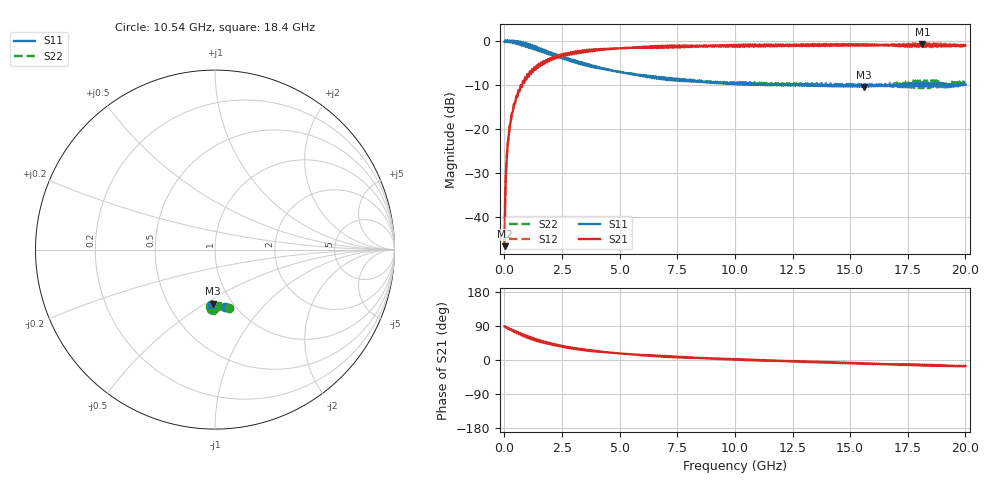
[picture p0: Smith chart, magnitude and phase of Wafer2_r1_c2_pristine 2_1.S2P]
!  2-Port S-parameters saved by WinCal
! VAR MeasName=S-Parameters (CALIBRATED_DATA) read from VNA (P5004A)
! VAR MeasDate=26/04/2024 17:42:32
! VAR NAME=Wafer2_r1_c2_pristine 2
! VAR FILENAME=Wafer2_r1_c2_pristine 2_1.S2P
! VAR DATE=26/04/2024 17:42:32
! VAR PHYS_PORTS=1,2
! VAR ObjTypeName=DATASET
! VAR IndexType=Frequency
# Hz S MA R 50
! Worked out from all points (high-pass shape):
!   1999 points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, 10.01 MHz to 20 GHz, reference 50 ohm
!   highest |S21| = -0.69 dB at 18.14 GHz (marker M1); lowest = -46.6 dB at 10.01 MHz (marker M2)
!   |S21| within 3 dB of the highest: 2.254 GHz to 2.322 GHz (67.55 MHz wide, 2.95 % of centre); 2.339 GHz to end of sweep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
!   lowest |S11| = -10.4 dB at 15.61 GHz (marker M3), VSWR 1.87, Z = 40.9 - j27.1 ohm
!   |S11| at or under -10 dB: 15.48 GHz to 15.56 GHz (81.3 MHz wide, 0.524 % of centre); 15.57 GHz to 15.66 GHz (91.31 MHz wide, 0.585 % of centre); 15.67 GHz to 15.76 GHz (87.08 MHz wide, 0.554 % of centre)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
!   |S22| runs from -10.7 to 0.1 dB; largest |S21 - S12| = 0.038
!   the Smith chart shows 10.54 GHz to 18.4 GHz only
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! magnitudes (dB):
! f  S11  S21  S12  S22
! 10.01 MHz  -0.2  -46.6  -46.5  -0.2
! 50.03 MHz  0.1  -32.4  -32.5  0.1
! 120.1 MHz  0.1  -25.0  -25.0  0.0
! 160.1 MHz  -0.1  -22.7  -22.8  -0.1
! 210.1 MHz  0.0  -20.3  -20.2  0.0
! 280.1 MHz  -0.3  -18.1  -18.1  -0.3
! 380.2 MHz  -0.4  -15.6  -15.5  -0.4
! 500.3 MHz  -0.1  -13.0  -13.0  -0.1
! 660.3 MHz  -0.9  -11.4  -11.4  -0.8
! 850.4 MHz  -1.1  -9.5  -9.5  -1.1
! 1.051 GHz  -1.5  -8.1  -8.1  -1.5
! 1.551 GHz  -2.3  -5.7  -5.7  -2.3
! 2.331 GHz  -3.7  -3.7  -3.7  -3.6
! 3.342 GHz  -5.2  -2.5  -2.5  -5.1
! 4.802 GHz  -6.8  -1.7  -1.7  -6.7
! 6.673 GHz  -8.1  -1.1  -1.1  -8.3
! 10.01 GHz  -9.8  -1.2  -1.3  -9.7
! 13.35 GHz  -9.9  -0.9  -0.8  -9.6
! 15.61 GHz  -10.4  -1.0  -1.0  -10.2
! 16.68 GHz  -10.1  -1.0  -1.0  -10.3
! 18.14 GHz  -9.6  -0.7  -0.6  -9.2
! 20 GHz  -9.9  -1.0  -0.9  -9.7
